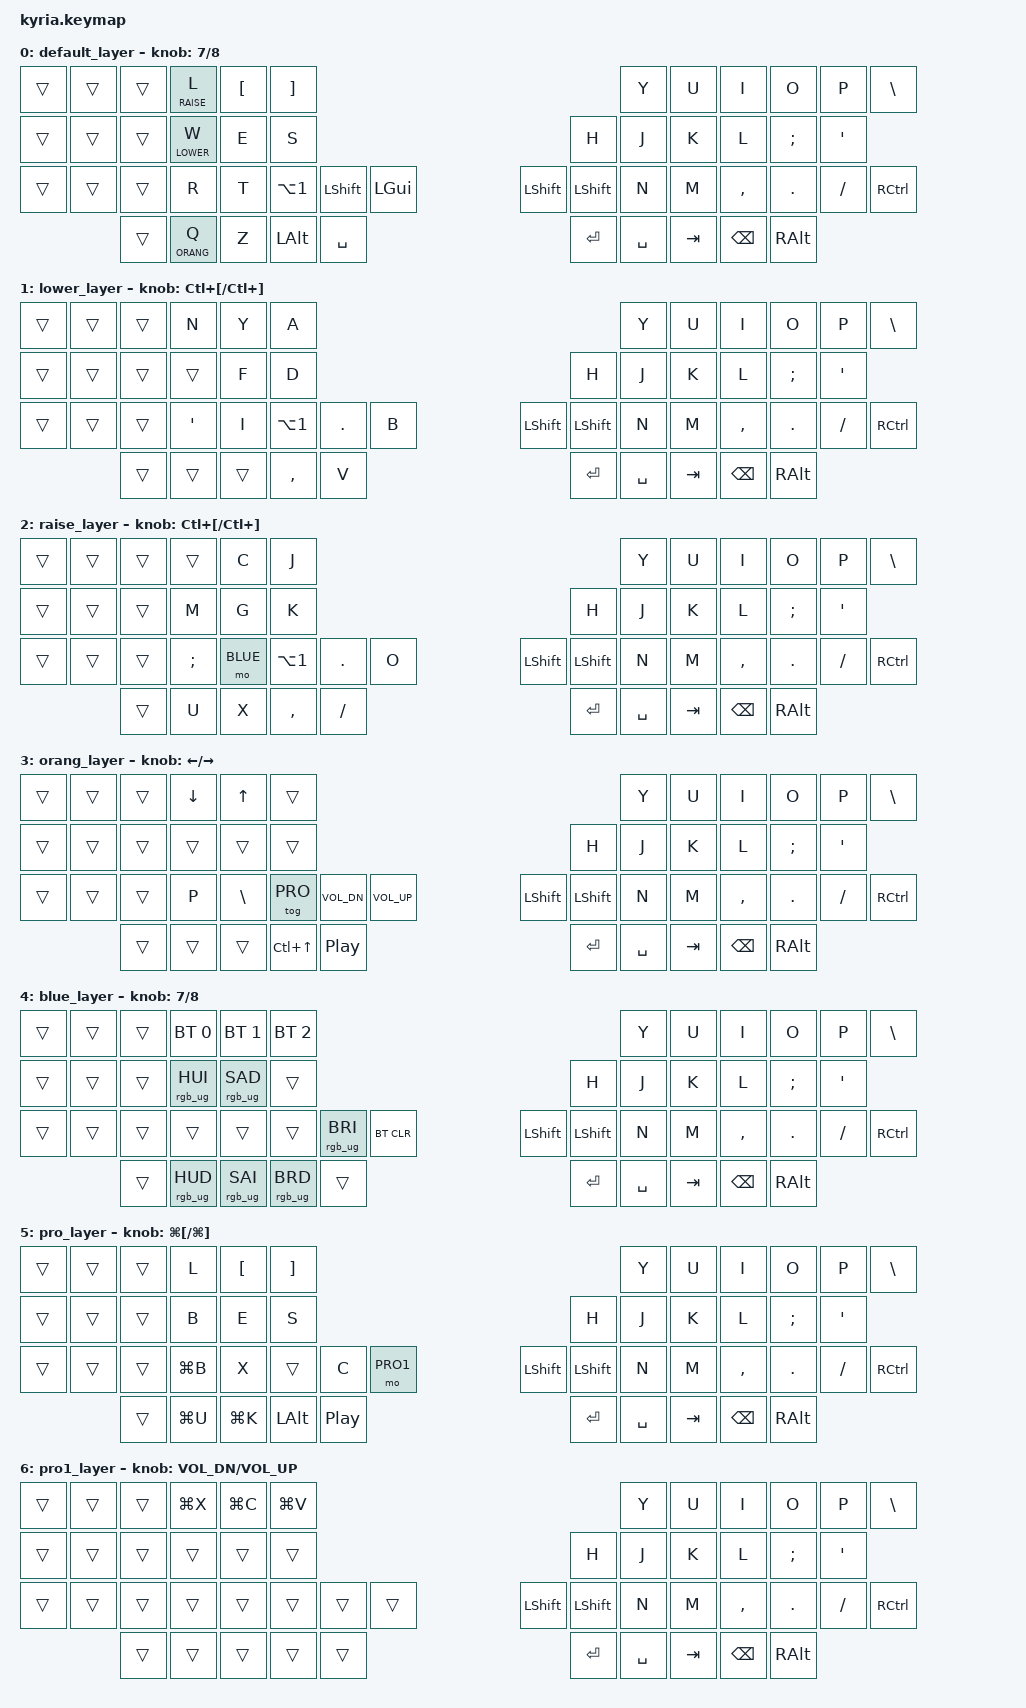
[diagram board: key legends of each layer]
/*
 * Copyright (c) 2020 The ZMK Contributors
 *
 * SPDX-License-Identifier: MIT
 */

#include <behaviors.dtsi>
#include <dt-bindings/zmk/keys.h>
#include <dt-bindings/zmk/bt.h>
#include <dt-bindings/zmk/rgb.h>
#include <dt-bindings/zmk/ext_power.h>
#include <dt-bindings/zmk/outputs.h>

#define DEFAULT 0
#define LOWER   1
#define RAISE   2
#define ORANG   3
#define BLUE    4
#define PRO     5
#define PRO1    6


&left_encoder { resolution = <2>; };
// &right_encoder { resolution = <1>; };

&mt {
    tapping-term-ms = <133>;
};

&lt {
    tapping-term-ms = <133>;
};

&spi1 {
	compatible = "nordic,nrf-spim";
	status = "okay";
	mosi-pin = <6>;
	// Unused pins, needed for SPI definition, but not used by the ws2812 driver itself.
	sck-pin = <5>;
	miso-pin = <7>;

	led_strip: ws2812@0 {
		compatible = "worldsemi,ws2812-spi";
		label = "WS2812";

		/* SPI */
		reg = <0>; /* ignored, but necessary for SPI bindings */
		spi-max-frequency = <4000000>;

		/* WS2812 */
		chain-length = <5>; /* arbitrary; change at will */
		spi-one-frame = <0x70>;
		spi-zero-frame = <0x40>;
		color-mapping = <LED_COLOR_ID_GREEN
                         LED_COLOR_ID_RED
                         LED_COLOR_ID_BLUE>;
	};
};

/ {
	chosen {
		zmk,underglow = &led_strip;
	};
};


/ {
	keymap {
		compatible = "zmk,keymap";

		default_layer {
// ---------------------------------------------------------------------------------------------------------------------------------
// |  M | R    | LGUI |  E |  R |  T |                                          |  Y   |  U    |  I    |  O   |   P   |   \  |
// |  L | X    |  W   | N2 | N3 |  H |                                          |  H   |  J    |  K    |  L   |   ;   |   '  |
// | MO1| EPTOG|  Q   |  Y |  A |  V | C | D |               | L SHIFT | L SHIFT |  N   |  M    |  ,    |  .   |   /   | CTRL |
//                     | N0|  S | LSHIFT |LALT| F |    |   RET   |  SPACE  | TAB  | BSPC  | R-ALT |
			bindings = <
	&trans &trans &trans    &lt RAISE L &kp LBKT &kp RBKT                                               &kp Y &kp U  &kp I     &kp O   &kp P    &kp BSLH
	&trans &trans &trans    &lt LOWER W &kp E &kp S                                                &kp H &kp J  &kp K     &kp L   &kp SEMI &kp SQT
	&trans &trans &trans    &kp R &kp T &kp LA(N1) &kp LSHFT &kp LGUI                &kp LSHFT &kp LSHFT &kp N &kp M  &kp COMMA &kp DOT &kp FSLH &kp RCTRL
	              &trans    &lt ORANG Q &kp Z &kp LALT &kp SPACE                        &kp RET  &kp SPACE  &kp TAB &kp BSPC &kp RALT
			>;

			sensor-bindings = <&inc_dec_kp N7 N8>;
		};
        lower_layer {
// ---------------------------------------------------------------------------------------------------------------------------------
// |  M | R    | LGUI |  E |  R |  T |                                          |  Y   |  U    |  I    |  O   |   P   |   \  |
// |  L | X    |  W   | N2 | N3 |  H |                                          |  H   |  J    |  K    |  L   |   ;   |   '  |
// | MO1| EPTOG|  Q   |  Y |  A |  V | C | D |               | L SHIFT | L SHIFT |  N   |  M    |  ,    |  .   |   /   | CTRL |
//                     | N0|  S | LSHIFT |LALT| F |    |   RET   |  SPACE  | TAB  | BSPC  | R-ALT |
			bindings = <
	&trans &trans &trans    &kp N  &kp Y &kp A                                                &kp Y &kp U  &kp I     &kp O   &kp P    &kp BSLH
	&trans &trans &trans    &trans &kp F &kp D                                                &kp H &kp J  &kp K     &kp L   &kp SEMI &kp SQT
	&trans &trans &trans    &kp SINGLE_QUOTE &kp I &kp LA(N1) &kp PERIOD &kp B                &kp LSHFT &kp LSHFT &kp N &kp M  &kp COMMA &kp DOT &kp FSLH &kp RCTRL
	              &trans    &trans &trans &kp COMMA &kp V                                       &kp RET  &kp SPACE  &kp TAB &kp BSPC &kp RALT
			>;

			sensor-bindings = <&inc_dec_kp LC(LBKT) LC(RBKT)>;
		};
		raise_layer {
// ---------------------------------------------------------------------------------------------------------------------------------
// |  M | R    | LGUI |  E |  R |  T |                                          |  Y   |  U    |  I    |  O   |   P   |   \  |
// |  L | X    |  W   | N2 | N3 |  H |                                          |  H   |  J    |  K    |  L   |   ;   |   '  |
// | MO1| EPTOG|  Q   |  Y |  A |  V | C | D |               | L SHIFT | L SHIFT |  N   |  M    |  ,    |  .   |   /   | CTRL |
//                     | N0|  S | LSHIFT |LALT| F |    |   RET   |  SPACE  | TAB  | BSPC  | R-ALT |
			bindings = <
	&trans &trans &trans    &trans &kp C &kp J                                                 &kp Y &kp U  &kp I     &kp O   &kp P    &kp BSLH
	&trans &trans &trans    &kp M &kp G &kp K                                                 &kp H &kp J  &kp K     &kp L   &kp SEMI &kp SQT
	&trans &trans &trans    &kp SEMICOLON &mo BLUE &kp LA(N1)  &kp PERIOD &kp O             &kp LSHFT &kp LSHFT &kp N &kp M  &kp COMMA &kp DOT &kp FSLH &kp RCTRL
	              &trans    &kp U  &kp X &kp COMMA &kp SLASH                                   &kp RET  &kp SPACE  &kp TAB &kp BSPC &kp RALT
			>;

			sensor-bindings = <&inc_dec_kp LC(LBKT) LC(RBKT)>;
		};
		orang_layer {
// ---------------------------------------------------------------------------------------------------------------------------------
// |  M | R    | LGUI |  E |  R |  T |                                          |  Y   |  U    |  I    |  O   |   P   |   \  |
// |  L | X    |  W   | N2 | N3 |  H |                                          |  H   |  J    |  K    |  L   |   ;   |   '  |
// | MO1| EPTOG|  Q   |  Y |  A |  V | C | D |               | L SHIFT | L SHIFT |  N   |  M    |  ,    |  .   |   /   | CTRL |
//                     | N0|  S | LSHIFT |LALT| F |    |   RET   |  SPACE  | TAB  | BSPC  | R-ALT |
			bindings = <
	&trans &trans &trans    &kp DOWN_ARROW &kp UP_ARROW &trans                                                 &kp Y &kp U  &kp I     &kp O   &kp P    &kp BSLH
	&trans &trans &trans    &trans &trans &trans                                                 &kp H &kp J  &kp K     &kp L   &kp SEMI &kp SQT
	&trans &trans &trans    &kp P &kp BACKSLASH &tog PRO &kp C_VOL_DN &kp C_VOL_UP                          &kp LSHFT &kp LSHFT &kp N &kp M  &kp COMMA &kp DOT &kp FSLH &kp RCTRL
	              &trans    &trans &trans  &kp LC(UP_ARROW) &kp C_PLAY_PAUSE                                   &kp RET  &kp SPACE  &kp TAB &kp BSPC &kp RALT
			>;

			sensor-bindings = <&inc_dec_kp LEFT RIGHT>;
		};
		blue_layer {
// ---------------------------------------------------------------------------------------------------------------------------------
// |  M | R    | LGUI |  E |  R |  T |                                          |  Y   |  U    |  I    |  O   |   P   |   \  |
// |  L | X    |  W   | N2 | N3 |  H |                                          |  H   |  J    |  K    |  L   |   ;   |   '  |
// | MO1| EPTOG|  Q   |  Y |  A |  V | C | D |               | L SHIFT | L SHIFT |  N   |  M    |  ,    |  .   |   /   | CTRL |
//                     | N0|  S | LSHIFT |LALT| F |    |   RET   |  SPACE  | TAB  | BSPC  | R-ALT |
			bindings = <
	&trans &trans &trans    &bt BT_SEL 0 &bt BT_SEL 1 &bt BT_SEL 2                                                 &kp Y &kp U  &kp I     &kp O   &kp P    &kp BSLH
	&trans &trans &trans    &rgb_ug RGB_HUI &rgb_ug RGB_SAD &trans                                                    &kp H &kp J  &kp K     &kp L   &kp SEMI &kp SQT
	&trans &trans &trans    &trans &trans &trans &rgb_ug RGB_BRI &bt BT_CLR                         &kp LSHFT &kp LSHFT &kp N &kp M  &kp COMMA &kp DOT &kp FSLH &kp RCTRL
	              &trans    &rgb_ug RGB_HUD &rgb_ug RGB_SAI &rgb_ug RGB_BRD &trans                                           &kp RET  &kp SPACE  &kp TAB &kp BSPC &kp RALT
			>;

			sensor-bindings = <&inc_dec_kp N7 N8>;
		};
		pro_layer {
// ---------------------------------------------------------------------------------------------------------------------------------
// |  M | R    | LGUI |  E |  R |  T |                                          |  Y   |  U    |  I    |  O   |   P   |   \  |
// |  L | X    |  W   | N2 | N3 |  H |                                          |  H   |  J    |  K    |  L   |   ;   |   '  |
// | MO1| EPTOG|  Q   |  Y |  A |  V | C | D |               | L SHIFT | L SHIFT |  N   |  M    |  ,    |  .   |   /   | CTRL |
//                     | N0|  S | LSHIFT |LALT| F |    |   RET   |  SPACE  | TAB  | BSPC  | R-ALT |
			bindings = <
	&trans &trans &trans    &kp L &kp LBKT &kp RBKT                                                 &kp Y &kp U  &kp I     &kp O   &kp P    &kp BSLH
	&trans &trans &trans    &kp B &kp E    &kp S                                                 &kp H &kp J  &kp K     &kp L   &kp SEMI &kp SQT
	&trans &trans &trans    &kp LG(B) &kp X  &trans &kp C &mo PRO1                         &kp LSHFT &kp LSHFT &kp N &kp M  &kp COMMA &kp DOT &kp FSLH &kp RCTRL
	              &trans    &kp LG(U) &kp LG(K)  &kp LALT &kp C_PLAY_PAUSE                                   &kp RET  &kp SPACE  &kp TAB &kp BSPC &kp RALT
			>;

			sensor-bindings = <&inc_dec_kp LG(LBKT) LG(RBKT)>;
		};
		pro1_layer {
// ---------------------------------------------------------------------------------------------------------------------------------
// |  M | R    | LGUI |  E |  R |  T |                                          |  Y   |  U    |  I    |  O   |   P   |   \  |
// |  L | X    |  W   | N2 | N3 |  H |                                          |  H   |  J    |  K    |  L   |   ;   |   '  |
// | MO1| EPTOG|  Q   |  Y |  A |  V | C | D |               | L SHIFT | L SHIFT |  N   |  M    |  ,    |  .   |   /   | CTRL |
//                     | N0|  S | LSHIFT |LALT| F |    |   RET   |  SPACE  | TAB  | BSPC  | R-ALT |
			bindings = <
	&trans &trans &trans    &kp LG(X) &kp LG(C) &kp LG(V)                                                 &kp Y &kp U  &kp I     &kp O   &kp P    &kp BSLH
	&trans &trans &trans    &trans    &trans    &trans                                                 &kp H &kp J  &kp K     &kp L   &kp SEMI &kp SQT
	&trans &trans &trans    &trans    &trans    &trans  &trans  &trans                           &kp LSHFT &kp LSHFT &kp N &kp M  &kp COMMA &kp DOT &kp FSLH &kp RCTRL
	              &trans              &trans    &trans  &trans  &trans                                    &kp RET  &kp SPACE  &kp TAB &kp BSPC &kp RALT
			>;

			sensor-bindings = <&inc_dec_kp C_VOL_DN C_VOL_UP>;
		};
	};
};

